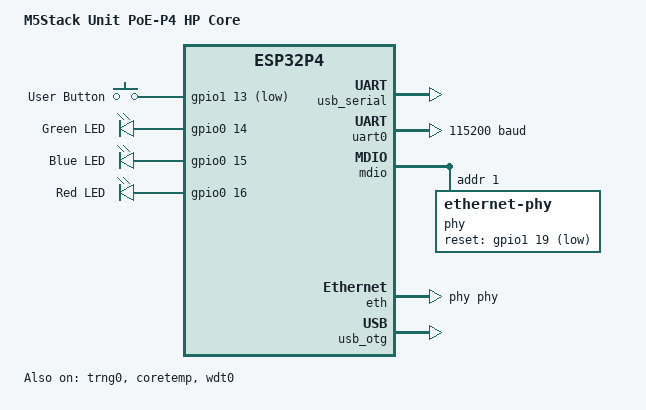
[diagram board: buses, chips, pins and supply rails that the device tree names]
/*
 * Copyright (c) 2026 Richard Osterloh
 * SPDX-License-Identifier: Apache-2.0
 */

/dts-v1/;

#include <espressif/esp32p4/esp32p4.dtsi>
#include "m5stack_unit_poe_p4_esp32p4_hpcore-pinctrl.dtsi"
#include <zephyr/dt-bindings/input/input-event-codes.h>
#include <espressif/partitions_0x2000_default_16M.dtsi>

/ {
	model = "M5Stack Unit PoE-P4 HP Core";
	compatible = "m5stack,unit-poe-p4";

	chosen {
		zephyr,sram = &sramhp;
		zephyr,console = &usb_serial;
		zephyr,shell-uart = &usb_serial;
		zephyr,flash = &flash0;
		zephyr,code-partition = &slot0_partition;
	};

	aliases {
		led0 = &led_red;
		led1 = &led_green;
		led2 = &led_blue;
		mcuboot-button0 = &user_button;
		sw0 = &user_button;
		uart-0 = &uart0;
		watchdog0 = &wdt0;
	};

	gpio_keys {
		compatible = "gpio-keys";

		user_button: button {
			label = "User Button";
			gpios = <&gpio1 13 (GPIO_PULL_UP | GPIO_ACTIVE_LOW)>;
			zephyr,code = <INPUT_KEY_0>;
		};
	};

	/*
	 * Three discrete GPIOs, not an addressable strip. Polarity is not stated in
	 * M5Stack's documentation; active-high is the assumption. If the LED is lit
	 * at reset and dark when set, flip these to GPIO_ACTIVE_LOW -- it is a status
	 * LED, so getting it backwards costs nothing but confusion.
	 */
	leds {
		compatible = "gpio-leds";

		led_green: led_0 {
			gpios = <&gpio0 14 GPIO_ACTIVE_HIGH>;
			label = "Green LED";
		};

		led_blue: led_1 {
			gpios = <&gpio0 15 GPIO_ACTIVE_HIGH>;
			label = "Blue LED";
		};

		led_red: led_2 {
			gpios = <&gpio0 16 GPIO_ACTIVE_HIGH>;
			label = "Red LED";
		};
	};
};

/*
 * 16 MB flash, 32 MB PSRAM (the "N16R32" module). Upstream dropped the
 * per-variant esp32p4_n16r32.dtsi in 2026-09 and boards now declare both on
 * top of esp32p4.dtsi, as every upstream P4 board does.
 */
&flash0 {
	reg = <0x0 DT_SIZE_M(16)>;
	ranges = <0x0 0x0 DT_SIZE_M(16)>;
};

&psram0 {
	size = <DT_SIZE_M(32)>;
};

/*
 * Pre-v3 (v1.3) ESP32-P4 silicon, whose valid CPU frequencies are 90/180/360
 * MHz. Anything outside that set builds but fails at boot with "invalid CPU
 * frequency". See Kconfig.m5stack_unit_poe_p4 for the revision selection.
 */
&cpu0 {
	clock-frequency = <DT_FREQ_M(360)>;
};

&cpu1 {
	clock-frequency = <DT_FREQ_M(360)>;
};

/* Console/shell over the download USB-C (USB0, G25/G24). */
&usb_serial {
	status = "okay";
};

&uart0 {
	status = "okay";
	current-speed = <115200>;
	pinctrl-0 = <&uart0_default>;
	pinctrl-names = "default";
};

&trng0 {
	status = "okay";
};

&coretemp {
	status = "okay";
};

&wdt0 {
	status = "okay";
};

&dma {
	status = "okay";
};

&dma_axi {
	status = "okay";
};

&ldo {
	status = "okay";

	ldo1@1 {
		regulator-init-microvolt = <3300000>;
		regulator-boot-on;
		regulator-always-on;
	};

	ldo2@2 {
		regulator-init-microvolt = <1800000>;
		regulator-boot-on;
		regulator-always-on;
	};

	ldo4@4 {
		regulator-init-microvolt = <3300000>;
		regulator-boot-on;
		regulator-always-on;
	};
};

&mdio {
	pinctrl-0 = <&mdio_default>;
	pinctrl-names = "default";
	status = "okay";

	phy: ethernet-phy@1 {
		compatible = "ethernet-phy";
		reg = <1>;
		reset-gpios = <&gpio1 19 GPIO_ACTIVE_LOW>;
		/*
		 * Both timings are mandatory, not tuning. phy_mii.c defaults them to 0,
		 * i.e. a zero-width reset pulse with no settling time, so the PHY's ID
		 * registers are read while it is still in internal reset and the driver
		 * reports "phy_mii: No PHY found at address 1" -- no network interface,
		 * so no DHCP, no zenoh, no hawkBit. Found the hard way on the Waveshare
		 * ESP32-P4-ETH, whose upstream DTS omits them, so each app there patches
		 * it back in from its own board overlay.
		 */
		reset-assert-duration-us = <10000>;
		reset-deassertion-timeout-ms = <50>;
	};
};

&eth {
	status = "okay";
	phy-handle = <&phy>;
	pinctrl-0 = <&rmii_default>;
	pinctrl-names = "default";
};

/* Native USB 2.0 HS OTG on the USB-C HOST port (dedicated UTMI DP/DM pads). */
zephyr_udc0: &usb_otg {
	status = "okay";
};
